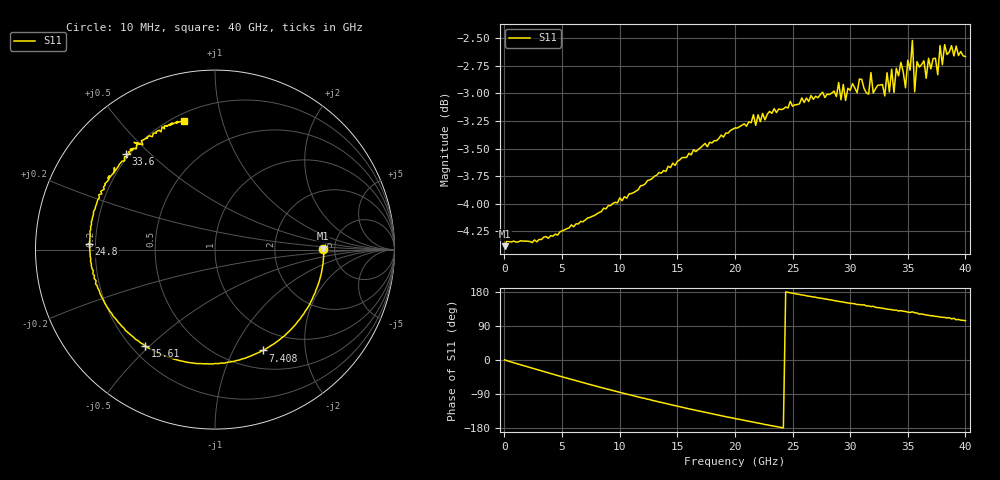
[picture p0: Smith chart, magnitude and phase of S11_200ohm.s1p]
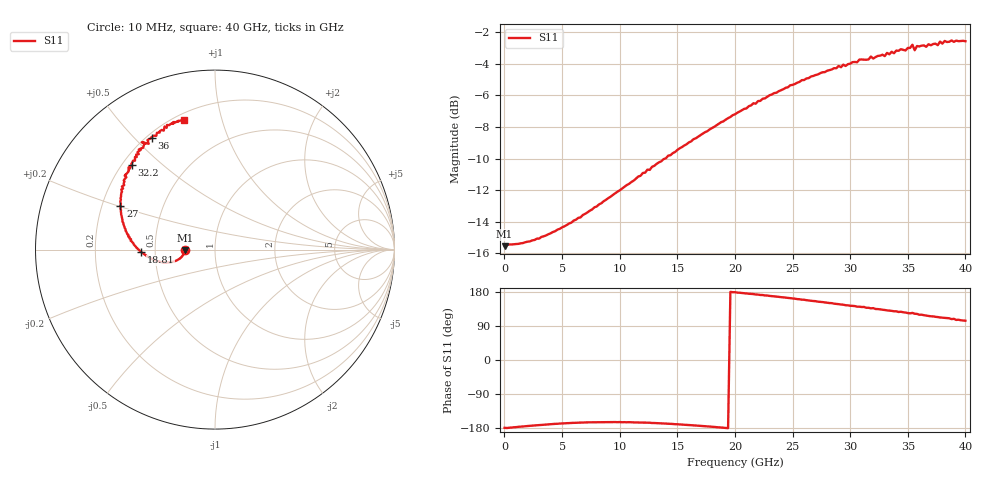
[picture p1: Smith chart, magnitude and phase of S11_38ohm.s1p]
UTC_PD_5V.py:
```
"""
UTC-PD 30 μm  —  -5 V / 5 mA simulation  (rigorous H_ph baseline)
================================================================
Same locked framework as UTC_PD_final.py (-7 V), with the ONLY bias-dependent
change being the junction capacitance (C-V):
    C_PD(-7 V) = 131 fF   ->   C_PD(-5 V) = 161 fF   (C-V values, LOCKED)
Inductances are geometric (bias-independent): 1-L L_CPW and FEM L_m reused
from the -7 V fit AS-IS. Rs, C_CPW bias-independent.

H_ph: identical rigorous Ramo J_tot integral as the -7 V baseline
      (undep-abs electron carries τ_A; dep-abs in-situ e/h carry none).

Data:
    S11            : data_5V_5mA/S11_*.s1p    (measured at -5 V, to 40 GHz)
    Freq response  : data_5V_5mA/*.xlsx       (measured at -5 V / 5 mA, Cal RF col)
Outputs: S11/Smith/freq-response figures + origin_data_5V_5mA/ export tree.
"""
import os, numpy as np, pandas as pd
import matplotlib.pyplot as plt

# ═══════════════════════════════════════════════════════════════════
# 1. H_ph(ω) — 4-term transit (SAME as -7 V baseline, bias-independent)
# ═══════════════════════════════════════════════════════════════════
W_A = 480e-9; W_Ad = 160e-9; W_C = 820e-9
W_norm = W_A + W_C + 2*W_Ad                       # 1620 nm  (DC -> |H_ph(0)|=1)
tau_A = 1.989e-12; tau_R = 0.0                    # staircase tau_A; tau_R neglected
# material-resolved layer-average v(E_avg), device field (-7V,0.5mA,lat10um); τ_A kept:
tau_eD = 2.026e-12                                # dep InGaAs abs 160 nm (InGaAs)
tau_C  = 7.794e-12                                # grading(InGaAsP)+cliff(InP)+collector(InP)
tau_h  = W_Ad / 4.8e4                             # 3.333 ps (InGaAs h sat 0.48e7 cm/s, lit.)

def H_ph(w):
    # 4-term transit: τ_A on undep-absorber terms only; in-situ dep-abs e/h no τ_A.
    sinc = lambda x: np.sinc(x/np.pi)
    t1 = W_A /(1.0+1j*w*tau_A) * (2.0+1j*w*tau_R)/(2.0*(1.0+1j*w*tau_R))
    t2 = W_C /(1.0+1j*w*tau_A) * sinc(w*tau_C/2)  * np.exp(-1j*w*tau_C/2)
    t3 = W_Ad * sinc(w*tau_eD/2) * np.exp(-1j*w*tau_eD/2)
    t4 = W_Ad * sinc(w*tau_h/2)  * np.exp(-1j*w*tau_h/2)
    return (t1 + t2 + t3 + t4) / W_norm

# ═══════════════════════════════════════════════════════════════════
# 2. CIRCUIT — 1-L LADDER (single CPW inductance; L_CPW1=0); bias-independent
#    params locked; only C_PD changes with bias: 131 fF @ -7 V -> 161 fF @ -5 V
#   Iph ∥ C_PD ─[R_S]─ node1{ C_CPW ∥ (R_m+L_m) } ─[L_CPW]─ port
# ═══════════════════════════════════════════════════════════════════
C_CPW = 46.53e-15; R_L = 50.0; Rs = 8.92
Cj    = 161.0e-15                                 # C_PD from C-V @ -5 V (LOCKED)

def sim_S11(w, Rp, Lcpw1, Lrp, Lcpw2):
    Z1  = Rs + 1/(1j*w*Cj)
    Y1  = 1j*w*C_CPW + 1/Z1
    Z2  = 1j*w*Lcpw1 + 1/Y1
    Yrm = 0.0 if np.isinf(Rp) else 1/(Rp + 1j*w*Lrp)
    Y2  = Yrm + 1/Z2
    Z_in = 1j*w*Lcpw2 + 1/Y2
    return (Z_in - 50)/(Z_in + 50)
def H_ckt(w, Rp, Lcpw1, Lrp, Lcpw2):
    """Transimpedance V_RL/I_ph of the ladder via ABCD cascade."""
    w = np.atleast_1d(np.asarray(w, dtype=float))
    A = np.ones_like(w, dtype=complex); B = np.zeros_like(w, dtype=complex)
    C = np.zeros_like(w, dtype=complex); D = np.ones_like(w, dtype=complex)
    def _series(Z):
        nonlocal A, B, C, D
        A, B, C, D = A, A*Z + B, C, C*Z + D
    def _shunt(Y):
        nonlocal A, B, C, D
        A, B, C, D = A + B*Y, B, C + D*Y, D
    _shunt(1j*w*Cj)
    _series(Rs + 0j*w)
    _shunt(1j*w*C_CPW)
    _series(1j*w*Lcpw1)
    if not np.isinf(Rp):
        _shunt(1/(Rp + 1j*w*Lrp))
    _series(1j*w*Lcpw2)
    return R_L/(C*R_L + D)
def get_bw(f, Hd):
    idx = np.where(Hd <= -3)[0]
    return f[idx[0]]/1e9 if len(idx) else np.nan

# ═══════════════════════════════════════════════════════════════════
# 3. DEVICE CONFIGS — ladder L values reused from -7 V fit (locked,
#    bias-independent);  L_m = FEM values (not fitted)
# ═══════════════════════════════════════════════════════════════════
configs = [
    dict(lbl='Rp=200Ω', Rp=200.0,  col='#888888', mk='D',
         s1p='data_5V_5mA/S11_200ohm.s1p', fr='data_5V_5mA/200ohm.xlsx',
         Lcpw=0.0, Lcpw2=200.4e-12, Lrp=153.7e-12),
    dict(lbl='Rp=38Ω',  Rp=38.0,   col='#1B998B', mk='o',
         s1p='data_5V_5mA/S11_38ohm.s1p',  fr='data_5V_5mA/38ohm.xlsx',
         Lcpw=0.0, Lcpw2=158.5e-12, Lrp=65.6e-12),
    dict(lbl='Rp=60Ω',  Rp=60.0,   col='#FF8C00', mk='s',
         s1p='data_5V_5mA/S11_60ohm.s1p',  fr='data_5V_5mA/60ohm.xlsx',
         Lcpw=0.0, Lcpw2=172.5e-12, Lrp=71.8e-12),
    dict(lbl='Open',    Rp=np.inf, col='#E91E8C', mk='^',
         s1p='data_5V_5mA/S11_WO.s1p',     fr='data_5V_5mA/WO.xlsx',
         Lcpw=0.0, Lcpw2=190.0e-12, Lrp=0.0),
]

def load_s1p(path):
    rows = []
    with open(path) as f:
        for line in f:
            line = line.strip()
            if not line or line.startswith(('!', '#')): continue
            p = line.split()
            if len(p) >= 3: rows.append([float(p[0]), float(p[1]), float(p[2])])
    a = np.array(rows)
    return a[:,0], 10**(a[:,1]/20)*np.exp(1j*np.deg2rad(a[:,2]))   # Hz, complex
def load_fr(path):
    df = pd.read_excel(path, header=14)
    f = pd.to_numeric(df.iloc[:,0], errors='coerce')
    cal = pd.to_numeric(df.iloc[:,6], errors='coerce')            # Cal RF (dBm)
    m = f.notna() & cal.notna()
    f, cal = f[m].values*1e9, cal[m].values
    return f, cal - cal[0]

f_plot = np.linspace(0.1e9, 50e9, 5000); w_plot = 2*np.pi*f_plot

print('='*100)
print('UTC-PD 30 μm  —  -5 V / 5 mA  (ladder circuit, C_PD=161 fF C-V, L locked from -7 V)')
print('-'*100)
_wtr = 2*np.pi*np.linspace(1e9,200e9,400000)
_mtr = np.abs(H_ph(_wtr))/np.abs(H_ph(1e-3*2*np.pi))
_itr = np.where(_mtr <= 1/np.sqrt(2))[0]
print(f'  transit-limited f_tr = {_wtr[_itr[0]]/2/np.pi/1e9:.2f} GHz  (bias-independent H_ph)')
print(f'  Cj={Cj*1e15:.1f} fF   Rs={Rs} Ω   C_CPW={C_CPW*1e15:.2f} fF')
print('='*100)
print(f'{"Device":>10} | {"RMS_S11":>9} | {"BW model":>9} | {"RMS_H (dB)":>10}')
print('-'*100)

for cfg in configs:
    fs11, S11m = load_s1p(cfg['s1p']); ws = 2*np.pi*fs11
    S11s = sim_S11(ws, cfg['Rp'], cfg['Lcpw'], cfg['Lrp'], cfg['Lcpw2'])
    rms_s11 = np.sqrt(np.mean(np.abs(S11s - S11m)**2))

    fm, pm = load_fr(cfg['fr']); wm = 2*np.pi*fm
    Hckt_m = H_ckt(wm,     cfg['Rp'], cfg['Lcpw'], cfg['Lrp'], cfg['Lcpw2'])
    Hckt_p = H_ckt(w_plot, cfg['Rp'], cfg['Lcpw'], cfg['Lrp'], cfg['Lcpw2'])
    Hd_m = 20*np.log10(np.abs(H_ph(wm)*Hckt_m)/np.abs(H_ph(wm[0])*Hckt_m[0]))
    Hd_p = 20*np.log10(np.abs(H_ph(w_plot)*Hckt_p)/np.abs(H_ph(0)*Hckt_p[0]))
    rms_H = np.sqrt(np.mean((Hd_m - pm)**2))
    bw = get_bw(f_plot, Hd_p); bw_s = f'{bw:.1f}' if not np.isnan(bw) else '>50'

    cfg.update(fs11=fs11, S11m=S11m, S11s=S11s, rms_s11=rms_s11,
               fm=fm, pm=pm, Hd_m=Hd_m, Hd_p=Hd_p, bw=bw, bw_s=bw_s, rms_H=rms_H)
    print(f'{cfg["lbl"]:>10} | {rms_s11:>9.5f} | {bw_s:>7} G | {rms_H:>10.3f}')

# ═══════════════════════════════════════════════════════════════════
# 4. PLOTS
# ═══════════════════════════════════════════════════════════════════
def draw_smith(ax, lw=0.6):
    ax.set_xlim(-1.08,1.08); ax.set_ylim(-1.08,1.08); ax.set_aspect('equal'); ax.axis('off')
    ax.add_patch(plt.Circle((0,0),1,fill=False,color='#888',lw=lw+0.3)); ax.axhline(0,color='#888',lw=lw,zorder=0)
    for r in [0.2,0.5,1,2,5]:
        cx,rad=r/(r+1),1/(r+1); ax.add_patch(plt.Circle((cx,0),rad,fill=False,color='#aaa',lw=lw,ls=':',zorder=0))
    th=np.linspace(0,np.pi,400)
    for x in [0.2,0.5,1,2,5]:
        for s in [1,-1]:
            xx=1+(1/x)*np.cos(th); yy=s/x+(1/x)*np.sin(th)*s; m=(xx**2+yy**2<=1.002)
            ax.plot(xx[m],yy[m],color='#aaa',lw=lw,ls=':',zorder=0)

fig, axes = plt.subplots(3, 4, figsize=(20, 14))
fig.suptitle('UTC-PD 30 μm  —  Bias = -5 V, I_ph = 5 mA  (ladder circuit, $C_{PD}$=172 fF, L locked from -7 V)\n'
             'Row 1: Smith  |  Row 2: $|S_{11}|$ dB  |  Row 3: Frequency response',
             fontsize=11, fontweight='bold')
for ci, cfg in enumerate(configs):
    col, mk = cfg['col'], cfg['mk']
    ax = axes[0, ci]; draw_smith(ax)
    ax.scatter(cfg['S11m'].real, cfg['S11m'].imag, s=10, color=col, zorder=6, label='Meas.')
    ax.plot(cfg['S11s'].real, cfg['S11s'].imag, '--', color='k', lw=1.5, zorder=5, label='Sim')
    ax.set_title(f'{cfg["lbl"]}\nRMS|ΔΓ|={cfg["rms_s11"]:.4f}', fontsize=10, fontweight='bold')
    ax.legend(fontsize=8.5, loc='lower left', framealpha=0.85, edgecolor='none')
    ax = axes[1, ci]
    ax.plot(cfg['fs11']/1e9, 20*np.log10(np.abs(cfg['S11m'])), '-', color=col, lw=1.0, label='Meas.')
    ax.plot(cfg['fs11']/1e9, 20*np.log10(np.abs(cfg['S11s'])), '--', color='k', lw=1.4, label='Sim')
    ax.set_xlabel('Frequency (GHz)', fontsize=9); ax.set_ylabel('|S11| (dB)', fontsize=9)
    ax.set_xlim(0, cfg['fs11'].max()/1e9); ax.legend(fontsize=8.5, loc='lower right'); ax.grid(True, alpha=0.3)
    ax = axes[2, ci]
    ax.scatter(cfg['fm']/1e9, cfg['pm'], color='k', marker=mk, s=22, edgecolors=col, linewidths=1.0, zorder=5, label='Meas.')
    ax.plot(f_plot/1e9, cfg['Hd_p'], '-', color=col, lw=2.0, label=f'Sim  BW={cfg["bw_s"]} GHz  RMS={cfg["rms_H"]:.2f}dB')
    ax.axhline(-3, color='gray', ls=':', lw=0.7, alpha=0.7)
    ax.set_xlabel('Frequency (GHz)', fontsize=9); ax.set_ylabel('Normalized H (dB)', fontsize=9)
    ax.set_xlim(0, 50); ax.set_ylim(-12, 3); ax.legend(fontsize=8.5, loc='lower left'); ax.grid(True, alpha=0.3)
fig.tight_layout()
fig.savefig('UTC_PD_5V_fit.png', dpi=150, bbox_inches='tight')
print('\nSaved: UTC_PD_5V_fit.png')

# freq-response overlay
fig_fr, ax_fr = plt.subplots(figsize=(10, 6))
for cfg in configs:
    ax_fr.plot(cfg['fm']/1e9, cfg['pm'], cfg['mk'], color=cfg['col'], ms=4, alpha=0.6)
    ax_fr.plot(f_plot/1e9, cfg['Hd_p'], '-', color=cfg['col'], lw=1.5, label=f'{cfg["lbl"]}  BW={cfg["bw_s"]} GHz')
ax_fr.axhline(-3, color='gray', ls='--', lw=0.8, label='-3 dB')
ax_fr.set_xlabel('Frequency (GHz)', fontsize=12); ax_fr.set_ylabel('Normalized Response (dB)', fontsize=12)
ax_fr.set_xlim(0, 45); ax_fr.set_ylim(-12, 3)
ax_fr.set_title('Frequency Response @ -5 V / 5 mA  (rigorous $H_{ph}$)', fontsize=12)
ax_fr.legend(fontsize=10, loc='lower left'); ax_fr.grid(True, alpha=0.3)
fig_fr.tight_layout(); fig_fr.savefig('UTC_PD_5V_freqresp.png', dpi=150, bbox_inches='tight')
print('Saved: UTC_PD_5V_freqresp.png')

# ═══════════════════════════════════════════════════════════════════
# 5. ORIGIN EXPORT
# ═══════════════════════════════════════════════════════════════════
_out = 'origin_data_5V_5mA'; os.makedirs(_out, exist_ok=True)
def _write(path, header, rows):
    with open(path, 'w', encoding='utf-8') as f:
        f.write('\t'.join(header) + '\n')
        for r in rows: f.write('\t'.join(f'{v:.8g}' for v in r) + '\n')
def _tag(l): return l.replace('Ω','ohm').replace('=','_').replace(' ','_')
for cfg in configs:
    t = _tag(cfg['lbl']); fs = cfg['fs11']; S11m, S11s = cfg['S11m'], cfg['S11s']
    _write(os.path.join(_out, f'smith_{t}.txt'),
           ['Freq_GHz','S11_meas_dB','S11_meas_deg','S11_fit_dB','S11_fit_deg',
            'Re_S11_meas','Im_S11_meas','Re_S11_fit','Im_S11_fit'],
           list(zip(fs/1e9, 20*np.log10(np.abs(S11m)+1e-30), np.angle(S11m,deg=True),
                    20*np.log10(np.abs(S11s)+1e-30), np.angle(S11s,deg=True),
                    S11m.real, S11m.imag, S11s.real, S11s.imag)))
    _write(os.path.join(_out, f's11_{t}.txt'),
           ['Freq_GHz','S11_meas_dB','S11_meas_deg','S11_fit_dB','S11_fit_deg'],
           list(zip(fs/1e9, 20*np.log10(np.abs(S11m)), np.angle(S11m,deg=True),
                    20*np.log10(np.abs(S11s)), np.angle(S11s,deg=True))))
    _write(os.path.join(_out, f'freqresp_meas_{t}.txt'), ['Freq_GHz','Norm_dB'], list(zip(cfg['fm']/1e9, cfg['pm'])))
    _write(os.path.join(_out, f'freqresp_sim_{t}.txt'),  ['Freq_GHz','Norm_dB'], list(zip(f_plot/1e9, cfg['Hd_p'])))
with open(os.path.join(_out, 'summary.txt'), 'w', encoding='utf-8') as f:
    f.write('# -5 V / 5 mA  (ladder circuit, C_PD=161 fF C-V, L locked from -7 V)\n')
    f.write(f'# transit-limited f_tr = {_wtr[_itr[0]]/2/np.pi/1e9:.2f} GHz (bias-independent)\n')
    f.write('Device\tCj_fF\tL_CPW_pH\tL_CPW2_pH\tL_Rp_pH\tRMS_S11\tBW_GHz\tRMS_H_dB\n')
    for cfg in configs:
        bw_v = 0 if np.isnan(cfg['bw']) else cfg['bw']
        f.write(f'{cfg["lbl"]}\t{Cj*1e15:.2f}\t{cfg["Lcpw"]*1e12:.4f}\t{cfg["Lcpw2"]*1e12:.4f}\t'
                f'{cfg["Lrp"]*1e12:.4f}\t{cfg["rms_s11"]:.5f}\t{bw_v:.4f}\t{cfg["rms_H"]:.4f}\n')
print(f'\nOrigin export to: {_out}/')
```
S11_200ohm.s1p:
!Agilent Technologies,N5227A,US51270434,A.10.00.00
!Agilent N5227A: A.10.00.00
!Date: Monday, March 30, 2026 11:35:38
!Correction: S11(Full 1 Port(1))
!S1P File: Measurement: S11:
# Hz S  dB  R 50
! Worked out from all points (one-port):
!   201 points, 10 MHz to 40 GHz, reference 50 ohm
!   lowest |S11| = -4.4 dB at 10 MHz (marker M1), VSWR 4.05, Z = 202 + j2.75 ohm
!   |S11| at or under -10 dB: nowhere
!   S11 on the Smith chart (normalised r, x): 10 MHz: 4.05, +0.06; 7.408 GHz: 0.72, -1.32; 15.61 GHz: 0.25, -0.48; 24.8 GHz: 0.18, +0.02; 33.6 GHz: 0.19, +0.42; 40 GHz: 0.24, +0.76
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1e7  -4.38 0.4
3.40915e9  -4.30 -30.4
7.40815e9  -4.12 -64.6
1.00075e10  -3.95 -85.3
1.340665e10  -3.72 -110.6
1.56061e10  -3.58 -126.1
1.980505e10  -3.32 -153.4
2.48038e10  -3.07 177.5
2.68033e10  -3.05 166.3
3.36016e10  -2.78 132.9
3.52012e10  -2.79 125.5
3.540115e10  -2.52 127.1
3.6001e10  -2.76 121.1
4e10  -2.67 103.7
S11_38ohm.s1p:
!Agilent Technologies,N5227A,US51270434,A.10.00.00
!Agilent N5227A: A.10.00.00
!Date: Monday, March 30, 2026 11:27:45
!Correction: S11(Full 1 Port(1))
!S1P File: Measurement: S11:
# Hz S  dB  R 50
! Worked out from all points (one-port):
!   201 points, 10 MHz to 40 GHz, reference 50 ohm
!   lowest |S11| = -15.5 dB at 10 MHz (marker M1), VSWR 1.40, Z = 35.7 - j0.205 ohm
!   |S11| at or under -10 dB: start of sweep to 13.95 GHz
!   S11 on the Smith chart (normalised r, x): 10 MHz: 0.71, -0.00; 18.81 GHz: 0.42, -0.01; 27 GHz: 0.28, +0.20; 32.2 GHz: 0.24, +0.40; 36 GHz: 0.22, +0.56; 40 GHz: 0.24, +0.76
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1e7  -15.54 -179.0
5.80855e9  -14.05 -166.1
1.340665e10  -10.24 -166.9
1.88053e10  -7.70 -178.2
2.28043e10  -6.09 170.1
2.68033e10  -4.78 155.6
2.700325e10  -4.72 155.2
3.08023e10  -3.74 140.7
3.220195e10  -3.59 134.6
3.52012e10  -3.01 123.1
3.540115e10  -2.81 124.3
3.56011e10  -3.15 122.1
3.6001e10  -2.91 119.5
4e10  -2.58 103.6
